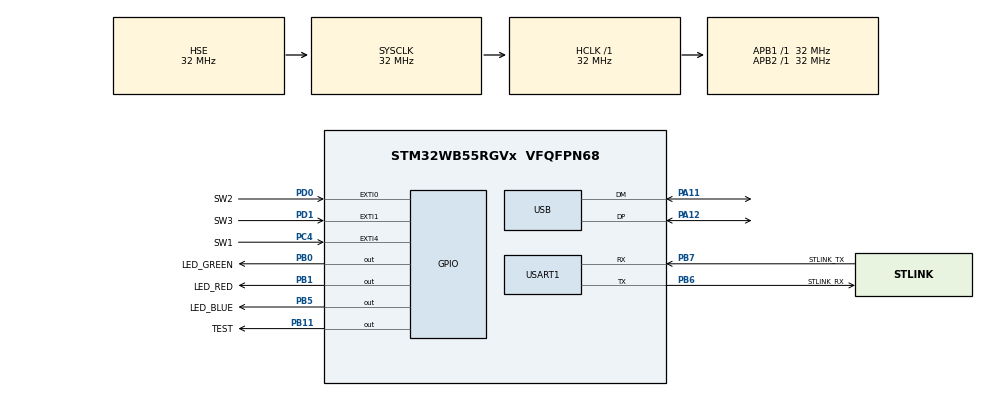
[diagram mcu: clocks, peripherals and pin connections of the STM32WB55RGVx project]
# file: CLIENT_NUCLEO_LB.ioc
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Mcu.Family=STM32WB
Mcu.Name=STM32WB55RGVx
Mcu.Package=VFQFPN68
NVIC.EXTI0_IRQn=true\:0\:0\:false\:false\:true\:true\:true
NVIC.EXTI1_IRQn=true\:0\:0\:false\:false\:true\:true\:true
NVIC.EXTI4_IRQn=true\:0\:0\:false\:false\:true\:true\:true
NVIC.PriorityGroup=NVIC_PRIORITYGROUP_4
NVIC.USB_LP_IRQn=true\:0\:0\:false\:false\:true\:false\:true
OSC_IN.Mode=HSE-External-Oscillator
OSC_IN.Signal=RCC_OSC_IN
OSC_OUT.Mode=HSE-External-Oscillator
OSC_OUT.Signal=RCC_OSC_OUT
PA11.GPIO_Speed=GPIO_SPEED_FREQ_HIGH
PA11.Mode=Device
PA11.Signal=USB_DM
PA12.GPIO_Speed=GPIO_SPEED_FREQ_HIGH
PA12.Mode=Device
PA12.Signal=USB_DP
PA13.GPIO_Label=JTMS
PA13.Mode=Trace_Asynchronous_SW
PA13.Signal=SYS_JTMS-SWDIO
PA14.GPIO_Label=JTCK
PA14.Mode=Trace_Asynchronous_SW
PA14.Signal=SYS_JTCK-SWCLK
PB0.GPIO_Label=LED_GREEN
PB0.Signal=GPIO_Output
PB1.GPIO_Label=LED_RED
PB1.Signal=GPIO_Output
PB11.GPIO_Label=TEST
PB11.Signal=GPIO_Output
PB3.GPIO_Label=JTDO
PB3.Mode=Trace_Asynchronous_SW
PB3.Signal=SYS_JTDO-SWO
PB5.GPIO_Label=LED_BLUE
PB5.Signal=GPIO_Output
PB6.GPIO_Label=STLINK_RX
PB6.Mode=Asynchronous
PB6.Signal=USART1_TX
PB7.GPIO_Label=STLINK_TX
PB7.Mode=Asynchronous
PB7.Signal=USART1_RX
PC13.Mode=SYS_WakeUp1
PC13.Signal=SYS_WKUP2
PC14-OSC32_IN.Mode=LSE-External-Oscillator
PC14-OSC32_IN.Signal=RCC_OSC32_IN
PC15-OSC32_OUT.Mode=LSE-External-Oscillator
PC15-OSC32_OUT.Signal=RCC_OSC32_OUT
PC4.GPIO_Label=SW1
PC4.GPIO_PuPd=GPIO_PULLUP
PC4.Signal=GPXTI4
PD0.GPIO_Label=SW2
PD0.GPIO_PuPd=GPIO_PULLUP
PD0.Signal=GPXTI0
PD1.GPIO_Label=SW3
PD1.GPIO_PuPd=GPIO_PULLUP
PD1.Signal=GPXTI1
ProjectManager.HeapSize=0x800
ProjectManager.StackSize=0x800
ProjectManager.TargetToolchain=STM32CubeIDE
RCC.ADCFreq_Value=48000000
RCC.AHBFreq_Value=32000000
RCC.APB1Freq_Value=32000000
RCC.APB1TimFreq_Value=32000000
RCC.APB2Freq_Value=32000000
RCC.APB2TimFreq_Value=32000000
RCC.APB3Freq_Value=16000000
RCC.CK48CLockSelection=RCC_USBCLKSOURCE_HSI48
RCC.CortexFreq_Value=32000000
RCC.HCLKFreq_Value=32000000
RCC.HSE_VALUE=32000000
RCC.HSI48_VALUE=48000000
RCC.HSI_VALUE=16000000
RCC.PLLM=RCC_PLLM_DIV2
RCC.PLLN=32
RCC.PLLSAI1N=6
RCC.PLLSourceVirtual=RCC_PLLSOURCE_HSE
RCC.RFWKPClockSelection=RCC_RFWKPCLKSOURCE_LSE
RCC.RTCClockSelection=RCC_RTCCLKSOURCE_LSE
RCC.SMPSDivider=4
RCC.SYSCLKFreq_VALUE=32000000
RCC.SYSCLKSource=RCC_SYSCLKSOURCE_HSE
RCC.USBFreq_Value=48000000
RCC.VCOOutputFreq_Value=512000000
RF1.Mode=RF1_Activate
RF1.Signal=RF_RF1
STM32_WPAN.BLE_APPLICATION_TYPE=BLE_CLIENT_PROFILE
STM32_WPAN.CFG_FAST_CONN_ADV_INTERVAL_MAX_HEXA=0x0
STM32_WPAN.CFG_FAST_CONN_ADV_INTERVAL_MIN_HEXA=0x0
STM32_WPAN.CFG_LPM_SUPPORTED=1
STM32_WPAN.CFG_LP_CONN_ADV_INTERVAL_MAX_HEXA=0x0
STM32_WPAN.CFG_LP_CONN_ADV_INTERVAL_MIN_HEXA=0x0
STM32_WPAN.LOCAL_NAME_FORMATTED=,'0'
USART1.VirtualMode-Asynchronous=VM_ASYNC
USB_DEVICE.CLASS_NAME_FS=CDC
USB_DEVICE.VirtualMode=Cdc
USB_DEVICE.VirtualModeFS=Cdc_FS
VP_HSEM_VS_HSEM.Mode=HSEM_Activate
VP_RTC_VS_RTC_Activate.Mode=RTC_Enabled
VP_SEQUENCER_VS_SEQUENCER.Mode=SEQUENCER_Enabled
VP_STM32_WPAN_VS_BLE_HOST.Mode=STM32_WPAN_Enabled
VP_TINY_LPM_VS_TINY_LPM.Mode=TINY_LPM_Enabled
VP_USB_DEVICE_VS_USB_DEVICE_CDC_FS.Mode=CDC_FS
board=P-NUCLEO-WB55-Nucleo

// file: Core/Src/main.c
/* USER CODE BEGIN Header */
/**
  ******************************************************************************
  * @file           : main.c
  * @brief          : Main program body
  ******************************************************************************
  * @attention
  *
  * <h2><center>&copy; Copyright (c) 2020 STMicroelectronics.
  * All rights reserved.</center></h2>
  *
  * This software component is licensed by ST under BSD 3-Clause license,
  * the "License"; You may not use this file except in compliance with the
  * License. You may obtain a copy of the License at:
  *                        opensource.org/licenses/BSD-3-Clause
  *
  ******************************************************************************
  */
/* USER CODE END Header */
#include "main.h"
#include "rf.h"
#include "rtc.h"
#include "app_entry.h"
#include "app_common.h"
#include "usart.h"
#include "usb_device.h"
#include "gpio.h"

/* USER CODE BEGIN Includes */
#include "app_ble.h"
#include "stm32_seq.h"
#include <stdio.h>
#include <string.h>
/* USER CODE END Includes */

/* USER CODE BEGIN PD */
#define BLE_PACK_ID 0x28
#define BLE_FSR_PACK 0x01
#define BLE_ACC_PACK 0x02
#define BLE_PPG_PACK 0x03
/* USER CODE END PD */

/* USER CODE BEGIN PV */
extern char VCPInitialized; // indica interface USB pronta
/* USER CODE END PV */

void SystemClock_Config(void);
/* USER CODE BEGIN PFP */
void transmit_CDC_messege(uint8_t*, uint16_t);
/* USER CODE END PFP */

int main(void)
{

  /* MCU Configuration--------------------------------------------------------*/

  /* Reset of all peripherals, Initializes the Flash interface and the Systick. */
  HAL_Init();

  /* Configure the system clock */
  SystemClock_Config();

  /* Initialize all configured peripherals */
  MX_GPIO_Init();
  MX_USART1_UART_Init();
  MX_RF_Init();
  MX_RTC_Init();
  MX_USB_Device_Init();
  /* USER CODE BEGIN 2 */

  while(!VCPInitialized) {
	  HAL_GPIO_TogglePin(LED_RED_GPIO_Port, LED_RED_Pin); // led red pisca se USB off
	  HAL_Delay(500);
  }
  HAL_GPIO_WritePin(LED_RED_GPIO_Port, LED_RED_Pin, GPIO_PIN_RESET);

  /* USER CODE END 2 */

  /* Init code for STM32_WPAN */
  APPE_Init();

  /* Infinite loop */
  while (1)
  {

    /* USER CODE BEGIN 3 */
	  UTIL_SEQ_Run(UTIL_SEQ_DEFAULT);
  }
  /* USER CODE END 3 */
}

void SystemClock_Config(void)
{
  RCC_OscInitTypeDef RCC_OscInitStruct = {0};
  RCC_ClkInitTypeDef RCC_ClkInitStruct = {0};
  RCC_PeriphCLKInitTypeDef PeriphClkInitStruct = {0};

  /** Configure LSE Drive Capability
  */
  __HAL_RCC_LSEDRIVE_CONFIG(RCC_LSEDRIVE_LOW);
  /** Configure the main internal regulator output voltage
  */
  __HAL_PWR_VOLTAGESCALING_CONFIG(PWR_REGULATOR_VOLTAGE_SCALE1);
  /** Initializes the CPU, AHB and APB busses clocks
  */
  RCC_OscInitStruct.OscillatorType = RCC_OSCILLATORTYPE_HSI48|RCC_OSCILLATORTYPE_HSI
                              |RCC_OSCILLATORTYPE_HSE|RCC_OSCILLATORTYPE_LSE;
  RCC_OscInitStruct.HSEState = RCC_HSE_ON;
  RCC_OscInitStruct.LSEState = RCC_LSE_ON;
  RCC_OscInitStruct.HSIState = RCC_HSI_ON;
  RCC_OscInitStruct.HSI48State = RCC_HSI48_ON;
  RCC_OscInitStruct.HSICalibrationValue = RCC_HSICALIBRATION_DEFAULT;
  RCC_OscInitStruct.PLL.PLLState = RCC_PLL_NONE;
  if (HAL_RCC_OscConfig(&RCC_OscInitStruct) != HAL_OK)
  {
    Error_Handler();
  }
  /** Configure the SYSCLKSource, HCLK, PCLK1 and PCLK2 clocks dividers
  */
  RCC_ClkInitStruct.ClockType = RCC_CLOCKTYPE_HCLK4|RCC_CLOCKTYPE_HCLK2
                              |RCC_CLOCKTYPE_HCLK|RCC_CLOCKTYPE_SYSCLK
                              |RCC_CLOCKTYPE_PCLK1|RCC_CLOCKTYPE_PCLK2;
  RCC_ClkInitStruct.SYSCLKSource = RCC_SYSCLKSOURCE_HSE;
  RCC_ClkInitStruct.AHBCLKDivider = RCC_SYSCLK_DIV1;
  RCC_ClkInitStruct.APB1CLKDivider = RCC_HCLK_DIV1;
  RCC_ClkInitStruct.APB2CLKDivider = RCC_HCLK_DIV1;
  RCC_ClkInitStruct.AHBCLK2Divider = RCC_SYSCLK_DIV1;
  RCC_ClkInitStruct.AHBCLK4Divider = RCC_SYSCLK_DIV1;

  if (HAL_RCC_ClockConfig(&RCC_ClkInitStruct, FLASH_LATENCY_1) != HAL_OK)
  {
    Error_Handler();
  }
  /** Initializes the peripherals clocks
  */
  PeriphClkInitStruct.PeriphClockSelection = RCC_PERIPHCLK_SMPS|RCC_PERIPHCLK_RFWAKEUP
                              |RCC_PERIPHCLK_RTC|RCC_PERIPHCLK_USART1
                              |RCC_PERIPHCLK_USB;
  PeriphClkInitStruct.Usart1ClockSelection = RCC_USART1CLKSOURCE_PCLK2;
  PeriphClkInitStruct.UsbClockSelection = RCC_USBCLKSOURCE_HSI48;
  PeriphClkInitStruct.RTCClockSelection = RCC_RTCCLKSOURCE_LSE;
  PeriphClkInitStruct.RFWakeUpClockSelection = RCC_RFWKPCLKSOURCE_LSE;
  PeriphClkInitStruct.SmpsClockSelection = RCC_SMPSCLKSOURCE_HSE;
  PeriphClkInitStruct.SmpsDivSelection = RCC_SMPSCLKDIV_RANGE1;

  if (HAL_RCCEx_PeriphCLKConfig(&PeriphClkInitStruct) != HAL_OK)
  {
    Error_Handler();
  }
}

/* USER CODE BEGIN 4 */
void transmit_CDC_messege(uint8_t* Buff, uint16_t Len){

	uint8_t buffer_receive[PAYLOAD_LENGTH-3] = {0};

	uint8_t result = 0;
	char t[800];
	uint8_t t_i[800];
	char aux[12];
	uint16_t dest[60] = {0};
	unsigned size;

	memset(t,0,800);
	memset(t_i,0,800);
	memset(aux,0,10);

	for(int i=0;i<PAYLOAD_LENGTH-3;i++)
		buffer_receive[i] = Buff[i+3];

	/*
	 * 	FSR - 10 samples
	 * */
	if((Buff[0]==BLE_PACK_ID)&&(Buff[1]==BLE_FSR_PACK)&&(Buff[2]==0x01)){
		for(int i=0; i<10; i++){
			dest[i] = (uint16_t)(((uint16_t)buffer_receive[(2*i+1)] << 8) | buffer_receive[2*i]);  // Turn the MSB and LSB into a signed 16-bit value
		}
		sprintf(aux,"28,%u,%u,",Buff[1],Buff[2]);
		strcat(t,aux);
		memset(aux,0,10);
		for(int i=0;i<9;i++){
			sprintf(aux,"%u,",dest[i]);
			strcat(t,aux);
			memset(aux,0,10);
		}
		sprintf(aux,"%u\n",dest[9]);
		strcat(t,aux);
	}
	/*
	 * 	ACC - 60 samples - 15 samples of each acc
	 * */
	if((Buff[0]==BLE_PACK_ID)&&(Buff[1]==BLE_ACC_PACK)){
		for(int i=0; i<60; i++){
			dest[i] = (uint16_t)(((uint16_t)buffer_receive[(2*i+1)] << 8) | buffer_receive[2*i]);  // Turn the MSB and LSB into a signed 16-bit value
		}
		sprintf(aux,"28,%u,%u,",Buff[1],Buff[2]);
		strcat(t,aux);
		memset(aux,0,10);
		for(int i=0;i<59;i++){
			sprintf(aux,"%u,",dest[i]);
			strcat(t,aux);
			memset(aux,0,10);
		}
		sprintf(aux,"%u\n",dest[59]);
		strcat(t,aux);
	}
	/*
	 * 	PPG - 50 samples - 25 samples of each led
	 * */
	if((Buff[0]==BLE_PACK_ID)&&(Buff[1]==BLE_PPG_PACK)){
		for(int i=0; i<50; i++){
			dest[i] = (uint16_t)(((uint16_t)buffer_receive[(2*i+1)] << 8) | buffer_receive[2*i]);  // Turn the MSB and LSB into a signed 16-bit value
		}
		sprintf(aux,"28,%u,%u,",Buff[1],Buff[2]);
		strcat(t,aux);
		memset(aux,0,10);
		for(int i=0;i<49;i++){
			sprintf(aux,"%u,",dest[i]);
			strcat(t,aux);
			memset(aux,0,10);
		}
		sprintf(aux,"%u\n",dest[49]);
		strcat(t,aux);
	}

	for(int i=0;i<strlen(t);i++){
		t_i[i] = (uint8_t)t[i];
	}

	size = (unsigned)strlen(t_i);
	result = CDC_Transmit_FS(t_i, size);

	if (result == 1)
		HAL_GPIO_WritePin(LED_BLUE_GPIO_Port, LED_BLUE_Pin, GPIO_PIN_SET);
	else
		HAL_GPIO_WritePin(LED_BLUE_GPIO_Port, LED_BLUE_Pin, GPIO_PIN_RESET);

}

void HAL_GPIO_EXTI_Callback(uint16_t GPIO_Pin)
{
  /* Prevent unused argument(s) compilation warning */
  if(GPIO_Pin == SW1_Pin){
//	  if(P2P_Client_APP_Get_State () != APP_BLE_CONNECTED_CLIENT)
//		{
//		  UTIL_SEQ_SetTask(1 << CFG_TASK_START_SCAN_ID, CFG_SCH_PRIO_0);
//		  HAL_GPIO_WritePin(LED_BLUE_GPIO_Port, LED_BLUE_Pin, GPIO_PIN_SET);
//		}else{
//			HAL_GPIO_TogglePin(LED_GREEN_GPIO_Port,LED_GREEN_Pin);
//		}
  }
  if(GPIO_Pin == SW2_Pin){}
  if(GPIO_Pin == SW3_Pin){}
  /* NOTE: This function should not be modified, when the callback is needed,
           the HAL_GPIO_EXTI_Callback could be implemented in the user file
   */
}
/* USER CODE END 4 */

void Error_Handler(void)
{
  /* USER CODE BEGIN Error_Handler_Debug */
  /* User can add his own implementation to report the HAL error return state */
	HAL_GPIO_WritePin(LED_RED_GPIO_Port, LED_RED_Pin, GPIO_PIN_SET);
	while(1){
		__NOP();
	}
  /* USER CODE END Error_Handler_Debug */
}

/************************ (C) COPYRIGHT STMicroelectronics *****END OF FILE****/
